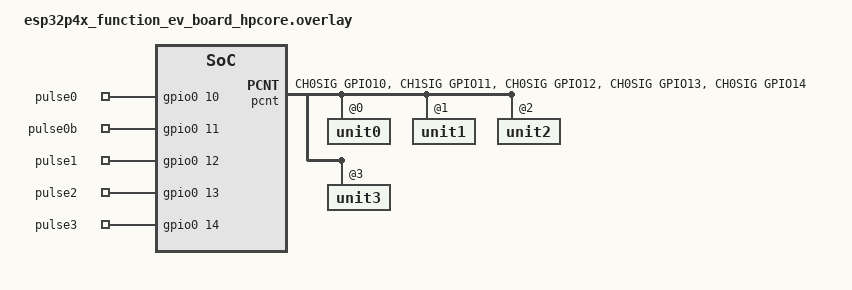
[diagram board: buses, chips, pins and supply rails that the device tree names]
/*
 * SPDX-License-Identifier: Apache-2.0
 *
 * Copyright (c) 2026 Espressif Systems (Shanghai) Co., Ltd.
 *
 * Self-loopback test overlay:
 *   unit 0 : GPIO10 (CH0 sig)      + GPIO11 (CH1 sig, quadrature phase B)
 *   unit 1 : GPIO12 (CH0 sig)
 *   unit 2 : GPIO13 (CH0 sig)      -- carries high-limit watchpoint
 *   unit 3 : GPIO14 (CH0 sig)      -- carries zero-cross watchpoint
 */

/ {
	aliases {
		qdec0 = &pcnt;
		pulse0 = &pulse0_alias;
		pulse0b = &pulse0b_alias;
		pulse1 = &pulse1_alias;
		pulse2 = &pulse2_alias;
		pulse3 = &pulse3_alias;
	};

	pulse_aliases {
		compatible = "gpio-keys";

		pulse0_alias: pulse0_alias {
			gpios = <&gpio0 10 GPIO_ACTIVE_HIGH>;
			label = "pulse0";
		};

		pulse0b_alias: pulse0b_alias {
			gpios = <&gpio0 11 GPIO_ACTIVE_HIGH>;
			label = "pulse0b";
		};

		pulse1_alias: pulse1_alias {
			gpios = <&gpio0 12 GPIO_ACTIVE_HIGH>;
			label = "pulse1";
		};

		pulse2_alias: pulse2_alias {
			gpios = <&gpio0 13 GPIO_ACTIVE_HIGH>;
			label = "pulse2";
		};

		pulse3_alias: pulse3_alias {
			gpios = <&gpio0 14 GPIO_ACTIVE_HIGH>;
			label = "pulse3";
		};
	};
};

&pinctrl {
	pcnt_default: pcnt_default {
		group1 {
			pinmux = <PCNT0_CH0SIG_GPIO10>,
				 <PCNT0_CH1SIG_GPIO11>,
				 <PCNT1_CH0SIG_GPIO12>,
				 <PCNT2_CH0SIG_GPIO13>,
				 <PCNT3_CH0SIG_GPIO14>;
		};
	};
};

&pcnt {
	pinctrl-0 = <&pcnt_default>;
	pinctrl-names = "default";
	status = "okay";
	#address-cells = <1>;
	#size-cells = <0>;

	/*
	 * unit 0: quadrature-capable (CH0 + CH1 wired).
	 *
	 * Channel A (reg=0): rising edge on sig -> increment, falling -> decrement.
	 * Channel B (reg=1): rising edge on sig -> decrement, falling -> increment.
	 *
	 * Together this forms a 4x quadrature decoder when both signals move
	 * 90 degrees out of phase. If we drive only sig A in simple toggles
	 * with sig B held low, channel A contributes both sides of the wave
	 * (pos: +1, neg: -1 - net 0). For the simple counting tests we hold
	 * the B input low, so sig_neg_mode is set to 0 on channel A to
	 * guarantee +1 per rising edge only.
	 */
	unit0@0 {
		reg = <0>;
		#address-cells = <1>;
		#size-cells = <0>;
		counts-per-revolution = <400>;

		channelA@0 {
			reg = <0>;
			sig-pos-mode = <1>;
			sig-neg-mode = <0>;
			ctrl-h-mode = <0>;
			ctrl-l-mode = <0>;
		};

		channelB@1 {
			reg = <1>;
			sig-pos-mode = <2>;
			sig-neg-mode = <0>;
			ctrl-h-mode = <0>;
			ctrl-l-mode = <0>;
		};
	};

	unit1@1 {
		reg = <1>;
		#address-cells = <1>;
		#size-cells = <0>;

		channelA@0 {
			reg = <0>;
			sig-pos-mode = <1>;
			sig-neg-mode = <0>;
			ctrl-h-mode = <0>;
			ctrl-l-mode = <0>;
		};
	};

	/* unit 2: armed with a high-limit watchpoint at +10 */
	unit2@2 {
		reg = <2>;
		#address-cells = <1>;
		#size-cells = <0>;
		high-limit = <10>;

		channelA@0 {
			reg = <0>;
			sig-pos-mode = <1>;
			sig-neg-mode = <0>;
			ctrl-h-mode = <0>;
			ctrl-l-mode = <0>;
		};
	};

	/*
	 * unit 3: same wiring as unit1/2 but with zero-cross-event enabled.
	 * We verify the DT wiring compiles and the unit still counts normally;
	 * triggering the zero-cross event at runtime would require the counter
	 * to be driven negative first, which needs additional bench setup.
	 */
	unit3@3 {
		reg = <3>;
		#address-cells = <1>;
		#size-cells = <0>;
		zero-cross-event;

		channelA@0 {
			reg = <0>;
			sig-pos-mode = <1>;
			sig-neg-mode = <0>;
			ctrl-h-mode = <0>;
			ctrl-l-mode = <0>;
		};
	};
};
